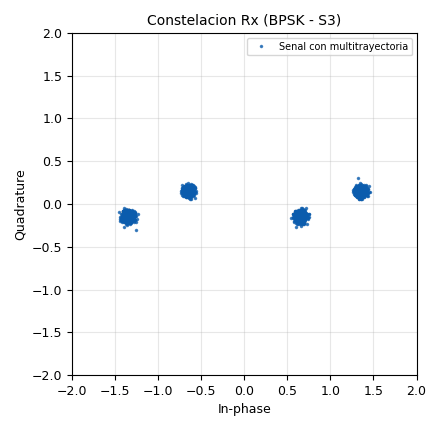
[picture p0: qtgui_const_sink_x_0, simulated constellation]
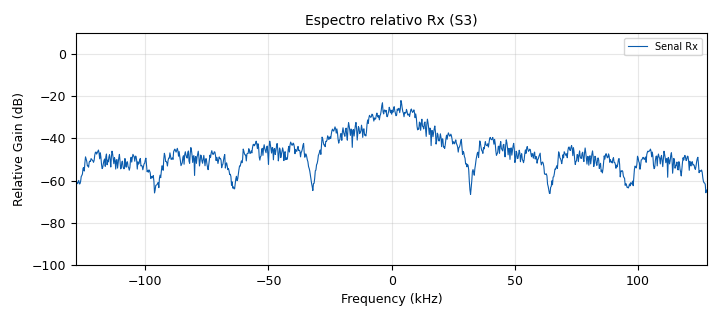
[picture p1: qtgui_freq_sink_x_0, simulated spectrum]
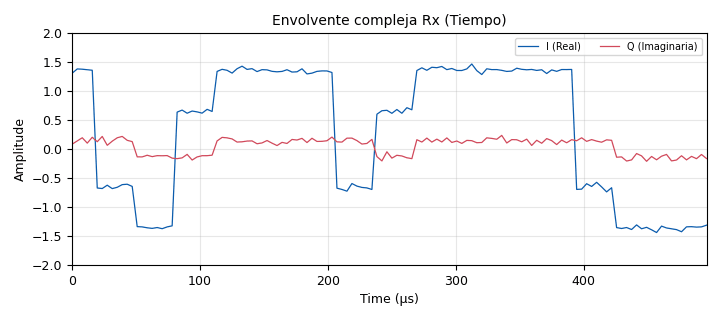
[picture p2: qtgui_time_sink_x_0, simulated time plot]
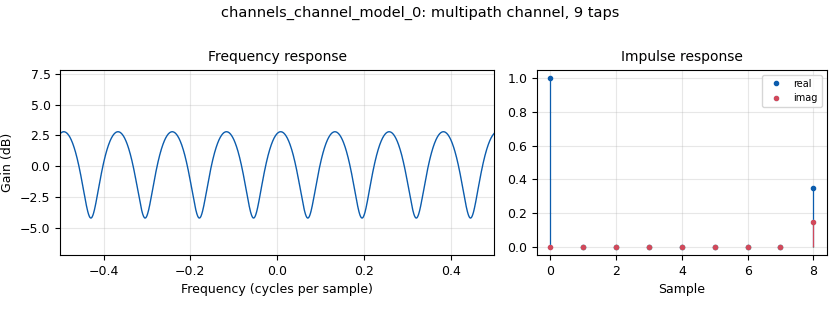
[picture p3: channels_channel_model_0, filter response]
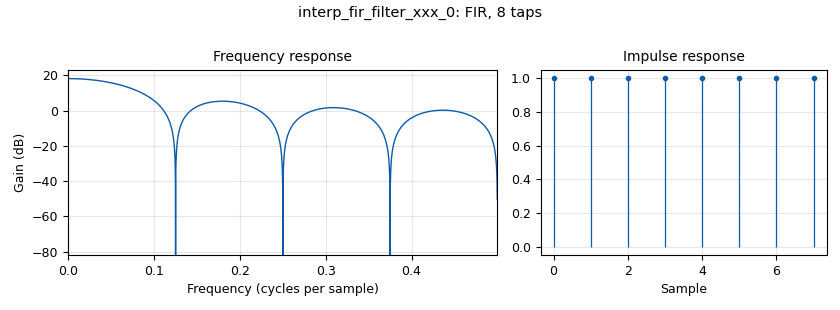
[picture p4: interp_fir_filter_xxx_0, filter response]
options:
  parameters:
    author: Fabian Chacon V., Javier Gomez S., Juan Santos L. (Grupo 3)
    comment: Implementacion BPSK complementaria para Escenario S3 - Multitrayectoria
    description: Camino directo + eco retardado un simbolo (8 muestras) en BPSK
    generate_options: qt_gui
    id: Enlace_S3_BPSK_Multitrayectoria_Grupo3
    output_language: python
    title: Enlace S3 BPSK Multitrayectoria - Grupo 3
  states: {}

blocks:
- name: M
  id: variable
  parameters:
    comment: Orden de la constelacion calculado desde su tabla de simbolos.
    value: len(tabla_de_verdad_constelacion)
  states: {}
- name: Rb
  id: variable
  parameters:
    comment: Tasa binaria derivada como Rs por bps.
    value: Rs*bps
  states: {}
- name: Rs
  id: variable
  parameters:
    comment: Tasa de simbolos del escenario S3, 32 ksym/s.
    value: '32000'
  states: {}
- name: Sps
  id: variable
  parameters:
    comment: Muestras por simbolo; determina el retardo y el muestreo.
    value: '8'
  states: {}
- name: bps
  id: variable
  parameters:
    comment: Bits por simbolo calculados desde el orden M.
    value: int(math.log(M,2))
  states: {}
- name: eco_imag
  id: variable_qtgui_range
  parameters:
    comment: 'Ref: 0.0 | Suave: 0.05 | Media: 0.15 | Fuerte: 0.20'
    gui_hint: 2,0,1,1
    label: Parte Imaginaria del Eco (beta)
    start: '0'
    step: '0.05'
    stop: '0.30'
    value: '0.15'
  states: {}
- name: eco_real
  id: variable_qtgui_range
  parameters:
    comment: 'Ref: 0.0 | Suave: 0.20 | Media: 0.35 | Fuerte: 0.50'
    gui_hint: 1,0,1,1
    label: Parte Real del Eco (alfa)
    start: '0'
    step: '0.05'
    stop: '0.60'
    value: '0.35'
  states: {}
- name: h
  id: variable
  parameters:
    comment: Pulso rectangular de Sps muestras para la interpolacion.
    value: '[1]*Sps'
  states: {}
- name: noise_amp
  id: variable_qtgui_range
  parameters:
    comment: Amplitud de ruido AWGN declarada para el Channel Model.
    gui_hint: 0,0,1,1
    label: Voltaje de ruido AWGN (noise_voltage)
    start: '0'
    step: '0.01'
    stop: '0.5'
    value: '0.05'
  states: {}
- name: samp_rate
  id: variable
  parameters:
    comment: Frecuencia de muestreo calculada como Rs por Sps.
    value: Rs*Sps
  states: {}
- name: tabla_de_verdad_constelacion
  id: variable
  parameters:
    comment: Tabla BPSK seleccionada para Escenario S3
    value: (-1+0j, 1+0j)
  states: {}
- name: taps_canal
  id: variable
  parameters:
    comment: Camino directo en n=0 y coeficiente complejo de eco en n=8.
    value: '[1+0j, 0j, 0j, 0j, 0j, 0j, 0j, 0j, complex(eco_real, eco_imag)]'
  states: {}
- name: analog_random_source_x_0
  id: analog_random_source_x
  parameters:
    comment: Fuente de bits aleatorios 0/1 para la simulacion BPSK.
    max: '2'
    min: '0'
    num_samps: '1000'
    repeat: 'True'
    type: byte
  states: {}
- name: blocks_pack_k_bits_bb_0
  id: blocks_pack_k_bits_bb
  parameters:
    comment: Empaqueta el flujo de bits antes de formar indices de simbolo.
    k: '8'
  states: {}
- name: blocks_packed_to_unpacked_xx_0
  id: blocks_packed_to_unpacked_xx
  parameters:
    bits_per_chunk: bps
    comment: Extrae bps bits por indice en orden MSB primero.
    endianness: gr.GR_MSB_FIRST
    type: byte
  states: {}
- name: channels_channel_model_0
  id: channels_channel_model
  parameters:
    comment: Camino directo y eco complejo retardado ocho muestras; AWGN configurable.
    epsilon: '1.0'
    freq_offset: '0.0'
    noise_voltage: noise_amp
    seed: '0'
    taps: taps_canal
  states: {}
- name: digital_chunks_to_symbols_xx_0
  id: digital_chunks_to_symbols_xx
  parameters:
    comment: Mapea indices con la tabla cardinal definida para esta modulacion.
    dimension: '1'
    in_type: byte
    out_type: complex
    symbol_table: tabla_de_verdad_constelacion
  states: {}
- name: import_0
  id: import
  parameters:
    comment: Importa math para calcular bps a partir del orden M.
    imports: import math
  states: {}
- name: interp_fir_filter_xxx_0
  id: interp_fir_filter_xxx
  parameters:
    comment: Interpola a Sps con pulsos rectangulares h=[1]*Sps.
    interp: Sps
    taps: h
    type: ccf
  states: {}
- name: qtgui_const_sink_x_0
  id: qtgui_const_sink_x
  parameters:
    comment: Muestra las muestras complejas a la salida del canal, no decisiones de simbolo.
    grid: 'True'
    gui_hint: 3,0,1,1
    label1: '"Senal con multitrayectoria"'
    name: '"Constelacion Rx (BPSK - S3)"'
    size: '2048'
    type: complex
  states: {}
- name: qtgui_freq_sink_x_0
  id: qtgui_freq_sink_x
  parameters:
    average: '0.2'
    bw: samp_rate
    comment: Espectro de salida relativo en dB; no es una PSD calibrada.
    fc: '0'
    fftsize: '1024'
    grid: 'True'
    gui_hint: 3,1,1,1
    label1: Senal Rx
    name: Espectro relativo Rx (S3)
    type: complex
    ymin: '-100'
  states: {}
- name: qtgui_time_sink_x_0
  id: qtgui_time_sink_x
  parameters:
    comment: Muestra las componentes I y Q de la salida del canal en el tiempo.
    grid: 'True'
    gui_hint: 4,0,1,2
    label1: I (Real)
    label2: Q (Imaginaria)
    name: '"Envolvente compleja Rx (Tiempo)"'
    size: '128'
    srate: samp_rate
    type: complex
    ymax: '2'
    ymin: '-2'
  states: {}
- name: throttle_0
  id: blocks_throttle2
  parameters:
    comment: Limita la simulacion a la frecuencia de muestreo configurada.
    samples_per_second: samp_rate
    type: complex
  states: {}

connections:
- [analog_random_source_x_0, '0', blocks_pack_k_bits_bb_0, '0']
- [blocks_pack_k_bits_bb_0, '0', blocks_packed_to_unpacked_xx_0, '0']
- [blocks_packed_to_unpacked_xx_0, '0', digital_chunks_to_symbols_xx_0, '0']
- [channels_channel_model_0, '0', qtgui_const_sink_x_0, '0']
- [channels_channel_model_0, '0', qtgui_freq_sink_x_0, '0']
- [channels_channel_model_0, '0', qtgui_time_sink_x_0, '0']
- [digital_chunks_to_symbols_xx_0, '0', interp_fir_filter_xxx_0, '0']
- [interp_fir_filter_xxx_0, '0', throttle_0, '0']
- [throttle_0, '0', channels_channel_model_0, '0']

metadata:
  file_format: 1
  grc_version: 3.10.12.0
